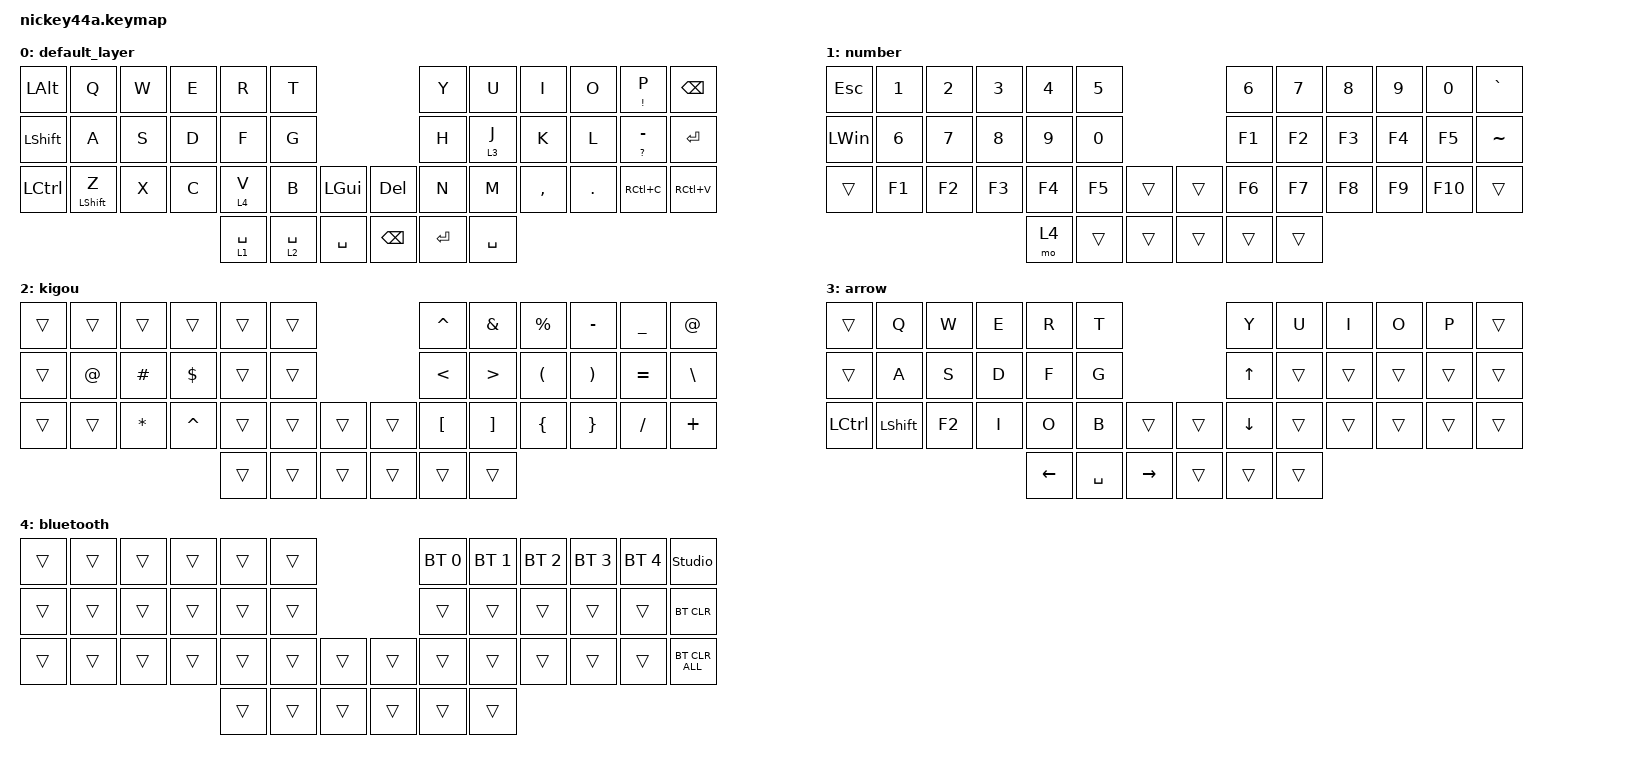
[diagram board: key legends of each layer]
#include <behaviors.dtsi>
#include <dt-bindings/zmk/bt.h>
#include <dt-bindings/zmk/keys.h>

&mt {
    flavor = "balanced";
    quick-tap-ms = <0>;
};

&lt {
    quick-tap-ms = <300>;
    flavor = "balanced";
};

/ {
    combos {
        compatible = "zmk,combos";

        caplock {
            bindings = <&kp CAPSLOCK>;
            key-positions = <16 15>;
        };

        ctrl-v {
            bindings = <&kp RC(V)>;
            key-positions = <19 20>;
        };

        escape {
            bindings = <&kp ESCAPE>;
            key-positions = <0 11>;
        };

        ctrl-c {
            bindings = <&kp RC(C)>;
            key-positions = <18 19>;
        };
    };

    macros {
        to_layer_0: to_layer_0 {
            compatible = "zmk,behavior-macro-one-param";
            #binding-cells = <1>;
            bindings = <&to 0 &macro_param_1to1 &kp MACRO_PLACEHOLDER>;
            label = "TO_LAYER_0";
        };
    };

    behaviors {
        lt_to_layer_0: lt_to_layer_0 {
            compatible = "zmk,behavior-hold-tap";
            label = "LAYER_TAP_TO_0";
            bindings = <&mo>, <&to_layer_0>;

            #binding-cells = <2>;
            tapping-term-ms = <200>;
        };
    };

    keymap {
        compatible = "zmk,keymap";

        default_layer {
            bindings = <
&kp LALT   &kp Q             &kp W  &kp E  &kp R        &kp T                               &kp Y    &kp U      &kp I      &kp O    &mt EXCL P          &kp BSPC
&kp LSHFT  &kp A             &kp S  &kp D  &kp F        &kp G                               &kp H    &lt 3 J    &kp K      &kp L    &mt QUESTION MINUS  &kp ENTER
&kp LCTRL  &mt LEFT_SHIFT Z  &kp X  &kp C  &lt 4 V      &kp B        &kp LGUI     &kp DEL   &kp N    &kp M      &kp COMMA  &kp DOT  &kp RC(C)           &kp RC(V)
                                           &lt 1 SPACE  &lt 2 SPACE  &kp SPACE    &kp BSPC  &kp RET  &kp SPACE
            >;
        };

        number {
            bindings = <
&kp ESCAPE    &kp NUMBER_1  &kp NUMBER_2  &kp NUMBER_3  &kp NUMBER_4  &kp NUMBER_5                    &kp NUMBER_6  &kp N7  &kp N8  &kp N9  &kp N0   &kp GRAVE
&kp LEFT_WIN  &kp N6        &kp N7        &kp N8        &kp N9        &kp N0                          &kp F1        &kp F2  &kp F3  &kp F4  &kp F5   &kp TILDE
&trans        &kp F1        &kp F2        &kp F3        &kp F4        &kp F5        &trans    &trans  &kp F6        &kp F7  &kp F8  &kp F9  &kp F10  &trans
                                                        &mo 4         &trans        &trans    &trans  &trans        &trans
            >;
        };

        kigou {
            bindings = <
&trans  &trans  &trans     &trans      &trans  &trans                    &kp CARET         &kp AMPERSAND      &kp PRCNT             &kp MINUS              &kp UNDER  &kp AT
&trans  &kp AT  &kp HASH   &kp DOLLAR  &trans  &trans                    &kp LESS_THAN     &kp GREATER_THAN   &kp LEFT_PARENTHESIS  &kp RIGHT_PARENTHESIS  &kp EQUAL  &kp BSLH
&trans  &trans  &kp ASTRK  &kp CARET   &trans  &trans  &trans    &trans  &kp LEFT_BRACKET  &kp RIGHT_BRACKET  &kp LEFT_BRACE        &kp RIGHT_BRACE        &kp FSLH   &kp PLUS
                                       &trans  &trans  &trans    &trans  &trans            &trans
            >;
        };

        arrow {
            bindings = <
&trans     &kp Q      &kp W   &kp E  &kp R           &kp T                                 &kp Y           &kp U   &kp I   &kp O   &kp P   &trans
&trans     &kp A      &kp S   &kp D  &kp F           &kp G                                 &kp UP_ARROW    &trans  &trans  &trans  &trans  &trans
&kp LCTRL  &kp LSHFT  &kp F2  &kp I  &kp O           &kp B      &trans             &trans  &kp DOWN_ARROW  &trans  &trans  &trans  &trans  &trans
                                     &kp LEFT_ARROW  &kp SPACE  &kp RIGHT_ARROW    &trans  &trans          &trans
            >;
        };

        bluetooth {
            bindings = <
&trans  &trans  &trans  &trans  &trans  &trans                    &bt BT_SEL 0  &bt BT_SEL 1  &bt BT_SEL 2  &bt BT_SEL 3  &bt BT_SEL 4  &studio_unlock
&trans  &trans  &trans  &trans  &trans  &trans                    &trans        &trans        &trans        &trans        &trans        &bt BT_CLR
&trans  &trans  &trans  &trans  &trans  &trans  &trans    &trans  &trans        &trans        &trans        &trans        &trans        &bt BT_CLR_ALL
                                &trans  &trans  &trans    &trans  &trans        &trans
            >;
        };
    };
};
